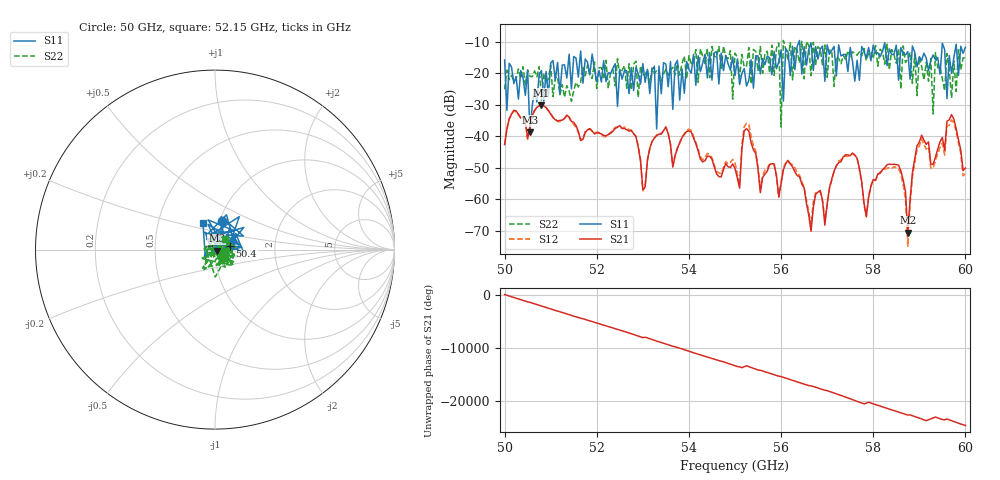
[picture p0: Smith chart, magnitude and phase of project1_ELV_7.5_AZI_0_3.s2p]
! 10/29/2026 4:16:39 PM
! C:\ANRITSUVNA\TEMP\TEMP.S2P
! CHANNEL.1
! TR.MEASUREMENT
! RAW.DATA
# HZ S RI R 50.0
! FREQ.HZ  S11RE  S11IM  S21RE  S21IM  S12RE  S12IM  S22RE  S22IM
!; PortSelection: Port_12
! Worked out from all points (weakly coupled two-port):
!   201 points, 50 GHz to 60 GHz, reference 50 ohm
!   highest |S21| = -30.13 dB at 50.8 GHz (marker M1); lowest = -70.7 dB at 58.75 GHz (marker M2)
!   lowest |S11| = -38.7 dB at 50.55 GHz (marker M3), VSWR 1.02, Z = 51 - j0.669 ohm
!   |S11| at or under -10 dB: start of sweep to 56.39 GHz; 56.4 GHz to end of sweep
!   |S22| runs from -37.1 to -9.5 dB; largest |S21 - S12| = 0.048
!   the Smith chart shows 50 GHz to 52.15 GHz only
!   S11 on the Smith chart (normalised r, x): 50 GHz: 1.02, +0.34; 50.4 GHz: 1.18, +0.05; 52.15 GHz: 0.84, +0.25
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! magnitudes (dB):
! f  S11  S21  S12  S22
! 50 GHz  -15.7  -42.6  -42.7  -25.0
! 50.4 GHz  -21.4  -34.2  -34.2  -17.9
! 50.55 GHz  -38.7  -36.7  -36.8  -20.9
! 50.8 GHz  -19.1  -30.1  -30.1  -28.5
! 51.7 GHz  -23.1  -41.0  -40.6  -17.9
! 52.15 GHz  -15.9  -39.7  -40.1  -21.9
! 53 GHz  -16.9  -57.0  -57.3  -20.5
! 53.25 GHz  -17.7  -40.6  -40.5  -19.9
! 53.3 GHz  -37.7  -39.8  -39.6  -19.2
! 53.35 GHz  -17.6  -39.4  -38.9  -20.1
! 55 GHz  -20.7  -50.2  -48.4  -13.5
! 55.95 GHz  -16.3  -59.1  -59.5  -10.3
! 56 GHz  -12.5  -55.1  -54.5  -37.1
! 56.05 GHz  -28.8  -50.7  -50.0  -9.5
! 56.1 GHz  -12.1  -48.7  -48.4  -12.3
! 56.7 GHz  -19.0  -62.7  -60.8  -10.1
! 58.35 GHz  -12.2  -48.9  -49.9  -18.8
! 58.75 GHz  -13.1  -70.7  -75.0  -15.4
! 59.05 GHz  -15.8  -39.6  -40.8  -17.7
! 59.3 GHz  -14.1  -48.9  -50.1  -32.9
! 59.35 GHz  -15.6  -46.6  -47.6  -13.4
! 60 GHz  -11.7  -50.1  -51.9  -15.0
